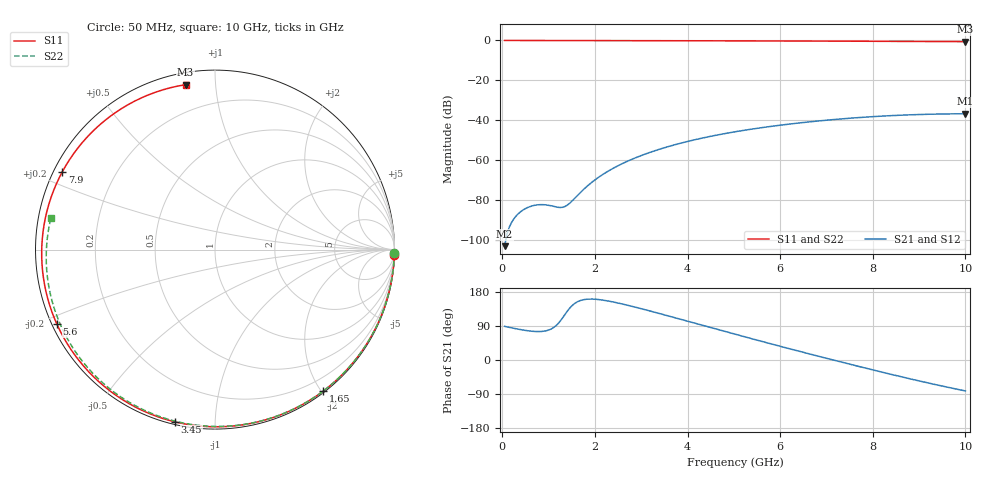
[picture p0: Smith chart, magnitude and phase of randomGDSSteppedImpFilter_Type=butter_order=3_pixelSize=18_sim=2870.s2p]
! freq	dB(S11)	phase(S11)	dB(S12)	phase(S12)
!  dB(S21)	phase(S21)	dB(S22)	phase(S22)
!S-par simulation data
#  GHz  S  DB  R 50
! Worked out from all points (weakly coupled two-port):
!   200 points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, 50 MHz to 10 GHz, reference 50 ohm
!   highest |S21| = -36.72 dB at 10 GHz (marker M1); lowest = -103.0 dB at 50 MHz (marker M2)
!   lowest |S11| = -0.6 dB at 10 GHz (marker M3), VSWR 29.00, Z = 2.93 + j41.8 ohm
!   |S11| at or under -10 dB: nowhere
!   |S22| runs from -0.6 to 0.0 dB; largest |S21 - S12| = 0
!   S11 on the Smith chart (normalised r, x): 50 MHz: 0, -69; 1.65 GHz: 0.02, -2.02; 3.45 GHz: 0.01, -0.79; 5.6 GHz: 0.01, -0.22; 7.9 GHz: 0.02, +0.24; 10 GHz: 0.06, +0.84
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0.05  -0.00 -1.7  -103.03 88.7  -103.03 88.7  -0.00 -1.1
0.4  -0.02 -13.1  -85.70 80.1  -85.70 80.1  -0.01 -8.4
0.75  -0.03 -24.4  -82.37 75.0  -82.37 75.0  -0.02 -15.8
1.5  -0.06 -48.0  -80.56 142.7  -80.56 142.7  -0.04 -31.3
1.55  -0.06 -49.6  -79.39 148.0  -79.39 148.0  -0.04 -32.3
1.65  -0.07 -52.6  -77.01 155.2  -77.01 155.2  -0.04 -34.4
1.75  -0.07 -55.6  -74.73 159.0  -74.73 159.0  -0.05 -36.4
2.05  -0.08 -64.5  -69.00 159.9  -69.00 159.9  -0.05 -42.5
2.45  -0.09 -76.1  -63.34 151.7  -63.34 151.7  -0.06 -50.5
2.9  -0.11 -88.5  -58.55 138.6  -58.55 138.6  -0.08 -59.3
3.4  -0.13 -101.8  -54.44 122.5  -54.44 122.5  -0.09 -69.0
3.45  -0.13 -103.1  -54.08 120.8  -54.08 120.8  -0.09 -69.9
4.2  -0.16 -121.9  -49.50 95.7  -49.50 95.7  -0.12 -84.0
5.05  -0.20 -142.1  -45.65 67.3  -45.65 67.3  -0.15 -99.5
5.6  -0.23 -154.7  -43.68 49.2  -43.68 49.2  -0.18 -109.3
6.15  -0.26 -167.1  -42.02 31.4  -42.02 31.4  -0.21 -119.0
6.7  -0.30 -179.5  -40.61 13.9  -40.61 13.9  -0.25 -128.6
7.3  -0.35 166.9  -39.33 -4.8  -39.33 -4.8  -0.30 -139.2
7.9  -0.40 152.9  -38.30 -23.1  -38.30 -23.1  -0.35 -149.9
8.35  -0.44 142.2  -37.70 -36.5  -37.70 -36.5  -0.40 -158.1
9.25  -0.53 119.8  -36.94 -62.1  -36.94 -62.1  -0.51 -175.3
10  -0.60 100.1  -36.72 -81.6  -36.72 -81.6  -0.62 169.0
